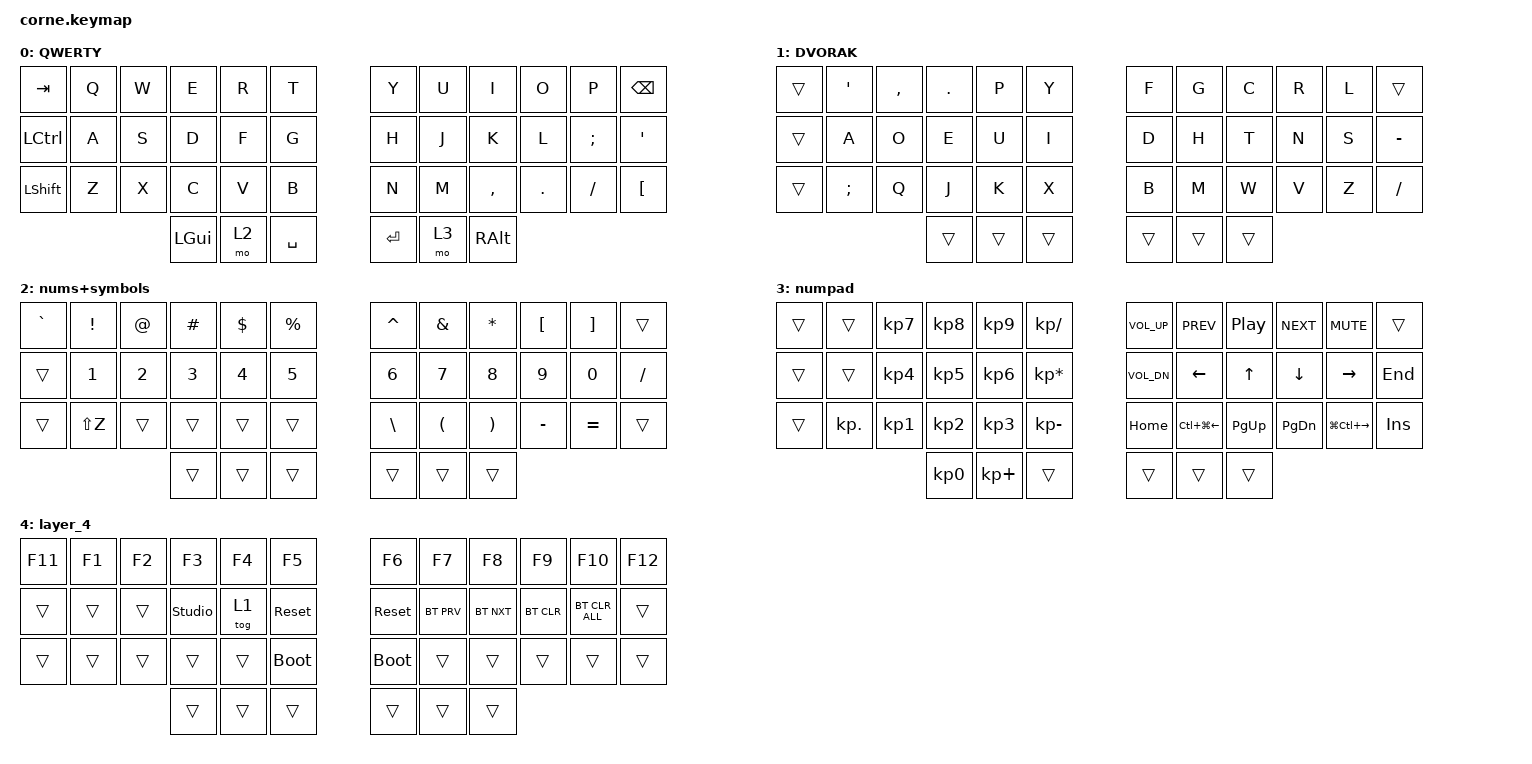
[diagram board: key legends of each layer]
/*
 * Copyright (c) 2020 The ZMK Contributors
 * 
 * SPDX-License-Identifier: MIT
 * updated by me on oct 22
 */

#include <behaviors.dtsi>
#include <dt-bindings/zmk/bt.h>
#include <dt-bindings/zmk/keys.h>

/ {
    combos {
        compatible = "zmk,combos";

        combo_rshift {
            bindings = <&kp RSHFT>;
            key-positions = <34 33>;
            layers = <0 1>;
        };

        combo_del {
            bindings = <&kp DEL>;
            key-positions = <11 10>;
        };

        combo_esc {
            bindings = <&kp ESC>;
            key-positions = <0 1>;
        };
    };

    keymap {
        compatible = "zmk,keymap";

        QWERTY {
            bindings = <
&kp TAB         &kp Q  &kp W  &kp E         &kp R  &kp T        &kp Y      &kp U  &kp I          &kp O    &kp P     &kp BACKSPACE
&kp LCTRL       &kp A  &kp S  &kp D         &kp F  &kp G        &kp H      &kp J  &kp K          &kp L    &kp SEMI  &kp SQT
&kp LEFT_SHIFT  &kp Z  &kp X  &kp C         &kp V  &kp B        &kp N      &kp M  &kp COMMA      &kp DOT  &kp FSLH  &kp LEFT_BRACKET
                              &kp LEFT_GUI  &mo 2  &kp SPACE    &kp ENTER  &mo 3  &kp RIGHT_ALT
            >;
        };

        DVORAK {
            bindings = <
&trans  &kp SQT   &kp COMMA  &kp DOT  &kp P   &kp Y     &kp F   &kp G   &kp C   &kp R  &kp L  &trans
&trans  &kp A     &kp O      &kp E    &kp U   &kp I     &kp D   &kp H   &kp T   &kp N  &kp S  &kp MINUS
&trans  &kp SEMI  &kp Q      &kp J    &kp K   &kp X     &kp B   &kp M   &kp W   &kp V  &kp Z  &kp SLASH
                             &trans   &trans  &trans    &trans  &trans  &trans
            >;
        };

        nums+symbols {
            bindings = <
&kp GRAVE  &kp EXCLAMATION  &kp AT_SIGN  &kp POUND  &kp DOLLAR  &kp PERCENT    &kp CARET  &kp AMPERSAND         &kp ASTERISK           &kp LEFT_BRACKET  &kp RIGHT_BRACKET  &trans
&trans     &kp N1           &kp N2       &kp N3     &kp N4      &kp N5         &kp N6     &kp N7                &kp N8                 &kp N9            &kp N0             &kp SLASH
&trans     &kp LS(Z)        &trans       &trans     &trans      &trans         &kp BSLH   &kp LEFT_PARENTHESIS  &kp RIGHT_PARENTHESIS  &kp MINUS         &kp EQUAL          &trans
                                         &trans     &trans      &trans         &trans     &trans                &trans
            >;
        };

        numpad {
            bindings = <
&trans  &trans      &kp KP_NUMBER_7  &kp KP_NUMBER_8  &kp KP_NUMBER_9  &kp KP_DIVIDE      &kp C_VOL_UP  &kp C_PREV        &kp C_PP     &kp C_NEXT     &kp C_MUTE         &trans
&trans  &trans      &kp KP_NUMBER_4  &kp KP_NUMBER_5  &kp KP_NUMBER_6  &kp KP_MULTIPLY    &kp C_VOL_DN  &kp LEFT          &kp UP       &kp DOWN       &kp RIGHT          &kp END
&trans  &kp KP_DOT  &kp KP_NUMBER_1  &kp KP_NUMBER_2  &kp KP_NUMBER_3  &kp KP_MINUS       &kp HOME      &kp LC(LG(LEFT))  &kp PAGE_UP  &kp PAGE_DOWN  &kp LG(LC(RIGHT))  &kp INSERT
                                     &kp KP_NUMBER_0  &kp KP_PLUS      &trans             &trans        &trans            &trans
            >;
        };

        layer_4 {
            bindings = <
&kp F11  &kp F1  &kp F2  &kp F3          &kp F4  &kp F5         &kp F6       &kp F7      &kp F8      &kp F9      &kp F10         &kp F12
&trans   &trans  &trans  &studio_unlock  &tog 1  &sys_reset     &sys_reset   &bt BT_PRV  &bt BT_NXT  &bt BT_CLR  &bt BT_CLR_ALL  &trans
&trans   &trans  &trans  &trans          &trans  &bootloader    &bootloader  &trans      &trans      &trans      &trans          &trans
                         &trans          &trans  &trans         &trans       &trans      &trans
            >;
        };
    };

    conditional_layers {
        compatible = "zmk,conditional-layers";

        both {
            if-layers = <2 3>;
            then-layer = <4>;
        };
    };
};
